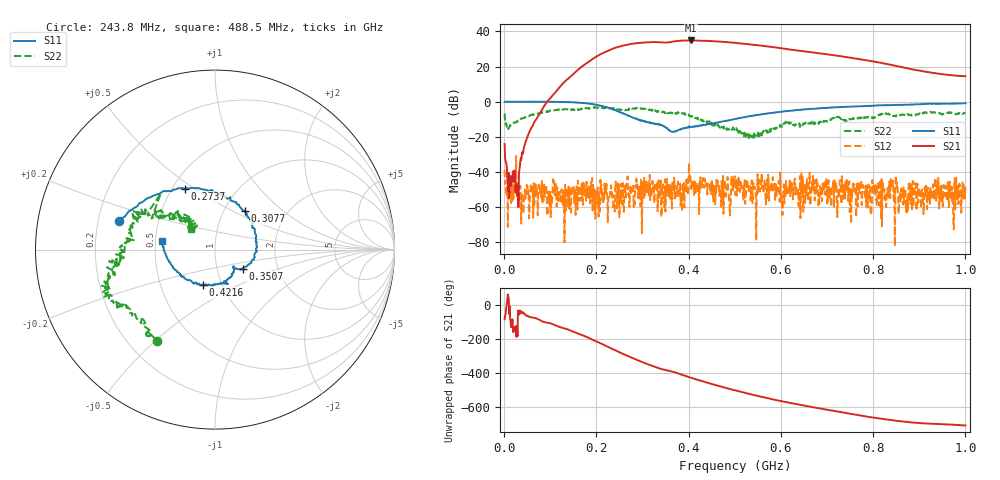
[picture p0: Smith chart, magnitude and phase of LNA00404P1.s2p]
! Created with skrf 1.9.0 (http://scikit-rf.org).
# Hz S RI R 50.0
!freq ReS11 ImS11 ReS21 ImS21 ReS12 ImS12 ReS22 ImS22
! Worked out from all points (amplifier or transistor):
!   1001 points, 1 MHz to 1 GHz, reference 50 ohm
!   highest |S21| = 34.9 dB at 404.6 MHz (marker M1)
!   |S21| within 3 dB of that: 256.7 MHz to 558.2 MHz (301.5 MHz wide, 74 % of centre)
!   unconditionally stable (mu >= 1): 218 MHz to 267.3 MHz; 315.8 MHz to 400.1 MHz; 401.1 MHz to end of sweep (the widest 3 of 44)
!   at 166.8 MHz: K = 2.87, MAG = 30.5 dB, |S12| = -56.3 dB
!   at 500.5 MHz: K = 1.59, MAG = 34.4 dB, |S12| = -44.3 dB
!   at 1 GHz: K = 3.63, MAG = 22.6 dB, |S12| = -47.7 dB
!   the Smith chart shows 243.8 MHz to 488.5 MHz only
!   S11 on the Smith chart (normalised r, x): 243.8 MHz: 0.29, +0.13; 273.7 MHz: 0.58, +0.46; 307.7 MHz: 1.25, +0.58; 350.6 MHz: 1.33, -0.29; 421.6 MHz: 0.81, -0.33; 488.5 MHz: 0.54, +0.06
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1000000  0.9974 0.0199  0.00345 -0.0628  -0.0115 -0.000377  0.3069 0.3549
1.08892e8  0.5231 -0.8495  -0.8315 -1.51  0.00276 0.00233  0.4224 -0.3955
1.67833e8  -0.2249 -0.9034  -9.875 -0.4091  -0.00282 0.00373  0.0182 -0.6399
2.09791e8  -0.6633 -0.3866  -15.19 16.89  -0.000466 -0.00338  -0.2186 -0.6344
2.43757e8  -0.5334 0.1572  1.309 35.16  0.000604 0.00228  -0.3252 -0.5107
2.73727e8  -0.1677 0.3381  27.4 33.77  -0.00201 -0.0033  -0.5472 -0.2998
3.07693e8  0.1669 0.2158  47.39 11.95  -0.000956 0.00254  -0.5735 -0.1494
3.34666e8  0.2342 -0.00737  48.24 -10.86  -0.00535 0.00354  -0.5196 -0.0141
3.5065e8  0.1538 -0.1063  43.74 -20.24  -0.000931 0.00349  -0.4736 0.0482
3.75625e8  0.1052 -0.1094  39.41 -36.4  -0.00236 0.00334  -0.453 0.1729
4.04596e8  0.0269 -0.1897  19.89 -51.62  -0.000447 0.0042  -0.3411 0.1914
4.21579e8  -0.0658 -0.1965  6.589 -54.16  0.00402 0.00324  -0.2553 0.1791
4.53547e8  -0.2095 -0.1258  -16.6 -49.86  -0.000223 -0.00146  -0.1423 0.1497
4.88512e8  -0.2932 0.0465  -34.28 -34.76  0.00126 -0.0014  -0.131 0.1162
5.005e8  -0.3022 0.1112  -38.16 -28.34  -0.00314 0.00525  -0.1289 0.1259
5.39461e8  -0.2375 0.3258  -41.17 -7.564  0.00365 -0.000941  -0.1092 -0.00187
5.84416e8  -0.0562 0.4888  -34.11 10.5  0.00376 -0.00179  -0.165 -0.0499
6.25375e8  0.1401 0.5481  -22.92 19.09  0.00201 -0.00289  -0.2278 -0.0612
6.67333e8  0.3382 0.5317  -12.13 22.09  -0.0018 -0.00478  -0.2751 -0.00799
7.55245e8  0.6388 0.3537  3.882 17.04  -0.00353 0.000194  -0.3151 0.0727
8.34166e8  0.7881 0.1314  8.269 8.029  3.59e-05 0.00176  -0.437 0.1195
1e9  0.8039 -0.4121  5.263 0.99  -0.0015 -0.00386  -0.1715 0.4491
